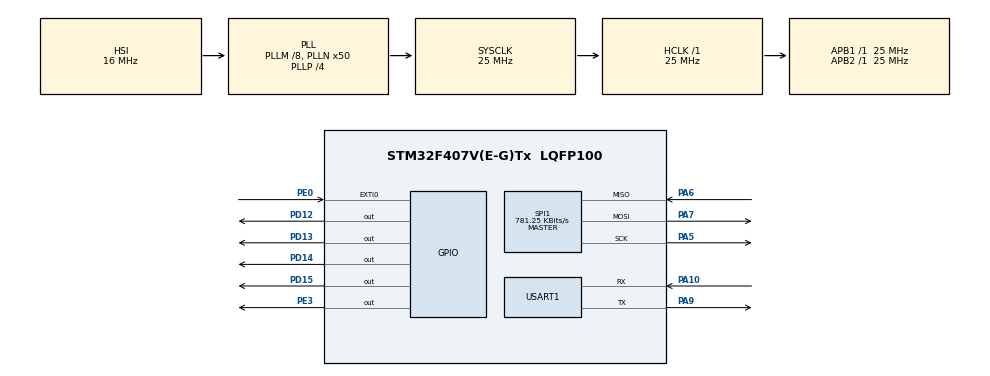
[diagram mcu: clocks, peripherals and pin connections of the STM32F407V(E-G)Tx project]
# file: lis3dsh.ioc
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Mcu.Family=STM32F4
Mcu.Name=STM32F407V(E-G)Tx
Mcu.Package=LQFP100
NVIC.PriorityGroup=NVIC_PRIORITYGROUP_4
NVIC.SPI1_IRQn=true\:0\:0\:false\:false\:true\:true\:true
PA10.Mode=Asynchronous
PA10.Signal=USART1_RX
PA13.Mode=Serial_Wire
PA13.Signal=SYS_JTMS-SWDIO
PA14.Mode=Serial_Wire
PA14.Signal=SYS_JTCK-SWCLK
PA5.Mode=Full_Duplex_Master
PA5.Signal=SPI1_SCK
PA6.Mode=Full_Duplex_Master
PA6.Signal=SPI1_MISO
PA7.Mode=Full_Duplex_Master
PA7.Signal=SPI1_MOSI
PA9.Mode=Asynchronous
PA9.Signal=USART1_TX
PD12.Signal=GPIO_Output
PD13.Signal=GPIO_Output
PD14.Signal=GPIO_Output
PD15.Signal=GPIO_Output
PE0.Signal=GPXTI0
PE3.Signal=GPIO_Output
ProjectManager.HeapSize=0x200
ProjectManager.StackSize=0x400
ProjectManager.TargetToolchain=STM32CubeIDE
RCC.48MHZClocksFreq_Value=25000000
RCC.AHBFreq_Value=25000000
RCC.APB1Freq_Value=25000000
RCC.APB1TimFreq_Value=25000000
RCC.APB2Freq_Value=25000000
RCC.APB2TimFreq_Value=25000000
RCC.CortexFreq_Value=25000000
RCC.HCLKFreq_Value=25000000
RCC.HSE_VALUE=25000000
RCC.HSI_VALUE=16000000
RCC.LSE_VALUE=32768
RCC.PLLM=8
RCC.PLLN=50
RCC.PLLP=RCC_PLLP_DIV4
RCC.SYSCLKFreq_VALUE=25000000
RCC.SYSCLKSource=RCC_SYSCLKSOURCE_PLLCLK
RCC.VCOOutputFreq_Value=100000000
SPI1.BaudRatePrescaler=SPI_BAUDRATEPRESCALER_32
SPI1.CalculateBaudRate=781.25 KBits/s
SPI1.Direction=SPI_DIRECTION_2LINES
SPI1.Mode=SPI_MODE_MASTER
SPI1.VirtualType=VM_MASTER
USART1.VirtualMode=VM_ASYNC
board=custom

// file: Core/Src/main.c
/* USER CODE BEGIN Header */
/**
  ******************************************************************************
  * @file           : main.c
  * @brief          : Main program body
  ******************************************************************************
  * @attention
  *
  * <h2><center>&copy; Copyright (c) 2020 STMicroelectronics.
  * All rights reserved.</center></h2>
  *
  * This software component is licensed by ST under BSD 3-Clause license,
  * the "License"; You may not use this file except in compliance with the
  * License. You may obtain a copy of the License at:
  *                        opensource.org/licenses/BSD-3-Clause
  *
  ******************************************************************************
  */
/* USER CODE END Header */
#include "main.h"

/* USER CODE BEGIN Includes */
#include "MY_LIS3DSH.h"

/* USER CODE END Includes */

SPI_HandleTypeDef hspi1;

UART_HandleTypeDef huart1;

/* USER CODE BEGIN PV */
LIS3DSH_DataScaled myData;
float data[3];
/* USER CODE END PV */

void SystemClock_Config(void);
static void MX_GPIO_Init(void);
static void MX_SPI1_Init(void);
static void MX_USART1_UART_Init(void);

int main(void)
{
  /* USER CODE BEGIN 1 */
	LIS3DSH_InitTypeDef myAccConfigDef;

  /* USER CODE END 1 */

  /* MCU Configuration--------------------------------------------------------*/

  /* Reset of all peripherals, Initializes the Flash interface and the Systick. */
  HAL_Init();

  /* Configure the system clock */
  SystemClock_Config();

  /* Initialize all configured peripherals */
  MX_GPIO_Init();
  MX_SPI1_Init();
  MX_USART1_UART_Init();
  /* USER CODE BEGIN 2 */

    myAccConfigDef.dataRate = LIS3DSH_DATARATE_25;
  	myAccConfigDef.fullScale = LIS3DSH_FULLSCALE_4;
  	myAccConfigDef.antiAliasingBW = LIS3DSH_FILTER_BW_50;
  	myAccConfigDef.enableAxes = LIS3DSH_XYZ_ENABLE;
  	myAccConfigDef.interruptEnable = true;
  	LIS3DSH_Init(&hspi1, &myAccConfigDef);

  	LIS3DSH_X_calibrate(-1000.0, 980.0);
  	LIS3DSH_Y_calibrate(-1020.0, 1040.0);
  	LIS3DSH_Z_calibrate(-920.0, 1040.0);

  /* USER CODE END 2 */

  /* Infinite loop */
  while (1)
  {

    /* USER CODE BEGIN 3 */
	  //if(drdyFlag == 1)
	  if(LIS3DSH_PollDRDY(1000) == true)
	  {
	  	//drdyFlag = 0;
	  	myData = LIS3DSH_GetDataScaled();
	  	HAL_GPIO_TogglePin(GPIOD, GPIO_PIN_12);

	  }
  }
  /* USER CODE END 3 */
}

void SystemClock_Config(void)
{
  RCC_OscInitTypeDef RCC_OscInitStruct = {0};
  RCC_ClkInitTypeDef RCC_ClkInitStruct = {0};

  /** Configure the main internal regulator output voltage
  */
  __HAL_RCC_PWR_CLK_ENABLE();
  __HAL_PWR_VOLTAGESCALING_CONFIG(PWR_REGULATOR_VOLTAGE_SCALE1);
  /** Initializes the RCC Oscillators according to the specified parameters
  * in the RCC_OscInitTypeDef structure.
  */
  RCC_OscInitStruct.OscillatorType = RCC_OSCILLATORTYPE_HSI;
  RCC_OscInitStruct.HSIState = RCC_HSI_ON;
  RCC_OscInitStruct.HSICalibrationValue = RCC_HSICALIBRATION_DEFAULT;
  RCC_OscInitStruct.PLL.PLLState = RCC_PLL_ON;
  RCC_OscInitStruct.PLL.PLLSource = RCC_PLLSOURCE_HSI;
  RCC_OscInitStruct.PLL.PLLM = 8;
  RCC_OscInitStruct.PLL.PLLN = 50;
  RCC_OscInitStruct.PLL.PLLP = RCC_PLLP_DIV4;
  RCC_OscInitStruct.PLL.PLLQ = 4;
  if (HAL_RCC_OscConfig(&RCC_OscInitStruct) != HAL_OK)
  {
    Error_Handler();
  }
  /** Initializes the CPU, AHB and APB buses clocks
  */
  RCC_ClkInitStruct.ClockType = RCC_CLOCKTYPE_HCLK|RCC_CLOCKTYPE_SYSCLK
                              |RCC_CLOCKTYPE_PCLK1|RCC_CLOCKTYPE_PCLK2;
  RCC_ClkInitStruct.SYSCLKSource = RCC_SYSCLKSOURCE_PLLCLK;
  RCC_ClkInitStruct.AHBCLKDivider = RCC_SYSCLK_DIV1;
  RCC_ClkInitStruct.APB1CLKDivider = RCC_HCLK_DIV1;
  RCC_ClkInitStruct.APB2CLKDivider = RCC_HCLK_DIV1;

  if (HAL_RCC_ClockConfig(&RCC_ClkInitStruct, FLASH_LATENCY_0) != HAL_OK)
  {
    Error_Handler();
  }
}

static void MX_SPI1_Init(void)
{

  /* SPI1 parameter configuration*/
  hspi1.Instance = SPI1;
  hspi1.Init.Mode = SPI_MODE_MASTER;
  hspi1.Init.Direction = SPI_DIRECTION_2LINES;
  hspi1.Init.DataSize = SPI_DATASIZE_8BIT;
  hspi1.Init.CLKPolarity = SPI_POLARITY_LOW;
  hspi1.Init.CLKPhase = SPI_PHASE_1EDGE;
  hspi1.Init.NSS = SPI_NSS_SOFT;
  hspi1.Init.BaudRatePrescaler = SPI_BAUDRATEPRESCALER_32;
  hspi1.Init.FirstBit = SPI_FIRSTBIT_MSB;
  hspi1.Init.TIMode = SPI_TIMODE_DISABLE;
  hspi1.Init.CRCCalculation = SPI_CRCCALCULATION_DISABLE;
  hspi1.Init.CRCPolynomial = 10;
  if (HAL_SPI_Init(&hspi1) != HAL_OK)
  {
    Error_Handler();
  }

}

static void MX_USART1_UART_Init(void)
{

  huart1.Instance = USART1;
  huart1.Init.BaudRate = 115200;
  huart1.Init.WordLength = UART_WORDLENGTH_8B;
  huart1.Init.StopBits = UART_STOPBITS_1;
  huart1.Init.Parity = UART_PARITY_NONE;
  huart1.Init.Mode = UART_MODE_TX_RX;
  huart1.Init.HwFlowCtl = UART_HWCONTROL_NONE;
  huart1.Init.OverSampling = UART_OVERSAMPLING_16;
  if (HAL_UART_Init(&huart1) != HAL_OK)
  {
    Error_Handler();
  }

}

static void MX_GPIO_Init(void)
{
  GPIO_InitTypeDef GPIO_InitStruct = {0};

  /* GPIO Ports Clock Enable */
  __HAL_RCC_GPIOE_CLK_ENABLE();
  __HAL_RCC_GPIOA_CLK_ENABLE();
  __HAL_RCC_GPIOD_CLK_ENABLE();

  /*Configure GPIO pin Output Level */
  HAL_GPIO_WritePin(GPIOE, GPIO_PIN_3, GPIO_PIN_RESET);

  /*Configure GPIO pin Output Level */
  HAL_GPIO_WritePin(GPIOD, GPIO_PIN_12|GPIO_PIN_13|GPIO_PIN_14|GPIO_PIN_15, GPIO_PIN_RESET);

  /*Configure GPIO pin : PE3 */
  GPIO_InitStruct.Pin = GPIO_PIN_3;
  GPIO_InitStruct.Mode = GPIO_MODE_OUTPUT_PP;
  GPIO_InitStruct.Pull = GPIO_NOPULL;
  GPIO_InitStruct.Speed = GPIO_SPEED_FREQ_LOW;
  HAL_GPIO_Init(GPIOE, &GPIO_InitStruct);

  /*Configure GPIO pins : PD12 PD13 PD14 PD15 */
  GPIO_InitStruct.Pin = GPIO_PIN_12|GPIO_PIN_13|GPIO_PIN_14|GPIO_PIN_15;
  GPIO_InitStruct.Mode = GPIO_MODE_OUTPUT_PP;
  GPIO_InitStruct.Pull = GPIO_NOPULL;
  GPIO_InitStruct.Speed = GPIO_SPEED_FREQ_LOW;
  HAL_GPIO_Init(GPIOD, &GPIO_InitStruct);

  /*Configure GPIO pin : PE0 */
  GPIO_InitStruct.Pin = GPIO_PIN_0;
  GPIO_InitStruct.Mode = GPIO_MODE_IT_RISING;
  GPIO_InitStruct.Pull = GPIO_NOPULL;
  HAL_GPIO_Init(GPIOE, &GPIO_InitStruct);

}

void Error_Handler(void)
{
}

/************************ (C) COPYRIGHT STMicroelectronics *****END OF FILE****/
